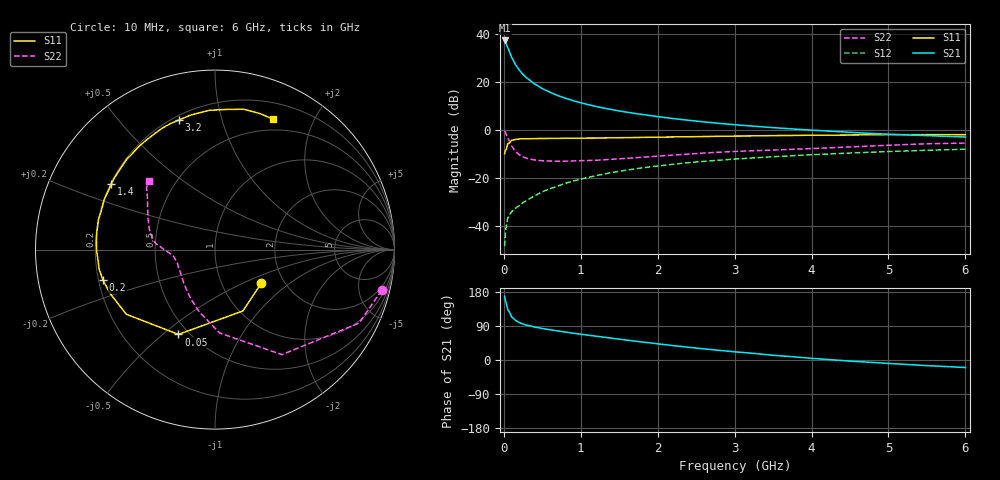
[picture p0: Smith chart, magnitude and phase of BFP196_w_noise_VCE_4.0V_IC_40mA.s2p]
! Infineon Technologies  Discrete & RF Semiconductors
! BFP196
! VCE =  4.0 V,  IC =  40 mA
! Common Emitter S-Parameters:  Jan 2017
# GHz  S  MA  R  50
!  f  S11  S21  S12  S22
! GHz  MAG  ANG  MAG  ANG  MAG  ANG  MAG  ANG
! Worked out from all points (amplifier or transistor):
!   77 points, 10 MHz to 6 GHz, reference 50 ohm
!   highest |S21| = 37.2 dB at 10 MHz (marker M1)
!   |S21| within 3 dB of that: start of sweep to 50.9 MHz
!   unconditionally stable (mu >= 1): 596.9 MHz to 2.437 GHz
!   at 130 MHz: K = 0.57, MSG = 30.9 dB, |S12| = -33.2 dB
!   at 2.2 GHz: K = 1.01, MAG = 8.9 dB, |S12| = -14.3 dB
!   at 6 GHz: K = 0.95, MSG = 2.5 dB, |S12| = -8.0 dB
!   lowest NFmin = 1.34 dB at 450 MHz
!   S11 on the Smith chart (normalised r, x): 10 MHz: 1.53, -0.64; 50 MHz: 0.44, -0.57; 200 MHz: 0.22, -0.13; 1.4 GHz: 0.20, +0.28; 3.2 GHz: 0.22, +0.73; 6 GHz: 0.37, +1.47
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0.01  0.319 -36.3  72.84 168.1  0.0038 80.7  0.9559 -13.7
0.02  0.3753 -65.5  69.85 157.2  0.007 70.4  0.9017 -27.0
0.05  0.5146 -113.3  51.96 133.1  0.0146 57.1  0.6937 -57.5
0.1  0.6115 -143.9  32.72 113.7  0.0198 51.3  0.4658 -86.7
0.15  0.6342 -157.5  23.02 104.6  0.0234 51.8  0.3585 -104.1
0.2  0.647 -164.9  17.64 98.9  0.0265 55.4  0.3054 -116.2
0.25  0.6548 -170.4  14.24 94.7  0.031 56.6  0.274 -125.2
0.3  0.654 -174.0  11.94 91.8  0.0342 58.8  0.2562 -132.6
0.4  0.66 -179.8  9.043 86.9  0.0425 61.8  0.2366 -142.5
0.5  0.6628 175.4  7.25 83.1  0.0516 63.6  0.2282 -149.6
0.6  0.6656 171.7  6.072 79.7  0.0597 63.9  0.2256 -155.1
0.7  0.667 168.4  5.209 76.8  0.0676 64.6  0.2225 -159.1
0.9  0.669 161.9  4.058 70.8  0.0861 64.2  0.2262 -164.6
1.1  0.6772 155.8  3.349 65.4  0.1033 63.0  0.2311 -168.8
1.4  0.6838 147.5  2.657 57.6  0.1293 59.9  0.2449 -173.6
1.7  0.6937 139.3  2.208 49.9  0.1543 56.2  0.263 -176.9
2.1  0.7089 128.9  1.806 40.4  0.185 50.9  0.2918 178.8
3.1  0.7464 107.6  1.247 20.0  0.2526 37.7  0.3613 168.3
3.2  0.7491 105.7  1.212 18.3  0.2585 36.5  0.366 167.0
4.1  0.7771 90.9  0.969 3.0  0.3092 25.7  0.4151 154.1
5.1  0.7975 77.1  0.801 -10.2  0.359 14.0  0.4862 141.0
6  0.7955 66.1  0.711 -19.8  0.3965 4.0  0.5321 134.0
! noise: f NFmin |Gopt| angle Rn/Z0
0.45  1.34  0.36  177  0.05
0.9  1.49  0.46  -167  0.07
1.9  2.31  0.68  -133  0.28
2.4  2.71  0.7  -120  0.62
